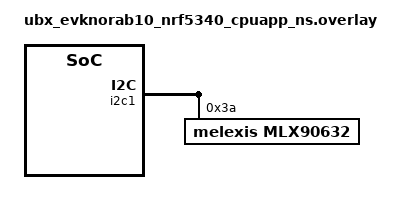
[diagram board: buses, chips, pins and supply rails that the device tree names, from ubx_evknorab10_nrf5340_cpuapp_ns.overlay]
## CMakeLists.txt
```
# SPDX-License-Identifier: Apache-2.0

cmake_minimum_required(VERSION 3.20.0)
find_package(Zephyr REQUIRED HINTS $ENV{ZEPHYR_BASE})
project(NORAB106_MLX90632)

zephyr_include_directories(inc)        #Add this line
zephyr_include_directories(inc/melexis)        #Add this line

target_sources(app PRIVATE src/main.c)
target_sources(app PRIVATE src/peripheral/gpio_hal.c)  #Add this line
target_sources(app PRIVATE src/peripheral/i2c_comm.c)  #Add this line
target_sources(app PRIVATE src/peripheral/peripheral.c)  #Add this line
target_sources(app PRIVATE src/melexis/mlx90632.c)  #Add this line
target_sources(app PRIVATE src/melexis/mlx90632_hal.c)  #Add this line
```

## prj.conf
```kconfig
CONFIG_GPIO=y
CONFIG_UART_NRFX=y
CONFIG_NEWLIB_LIBC=y
CONFIG_DEBUG_OPTIMIZATIONS=y
CONFIG_I2C=y
CONFIG_PRINTK=y
CONFIG_NEWLIB_LIBC=y
CONFIG_NEWLIB_LIBC_FLOAT_PRINTF=y
```

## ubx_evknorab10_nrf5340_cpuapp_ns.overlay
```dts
/******************************************************************************
 * Copyright (c) 2025 Marconatale Parise.
 *
 * Licensed under the Apache License, Version 2.0 (the "License");
 * You may not use this file except in compliance with the License.
 * You may obtain a copy of the License at
 *
 *     http://www.apache.org/licenses/LICENSE-2.0
 *
 * Unless required by applicable law or agreed to in writing, software
 * distributed under the License is distributed on an "AS IS" BASIS,
 * WITHOUT WARRANTIES OR CONDITIONS OF ANY KIND, either express or implied.
 * See the License for the specific language governing permissions and
 * limitations under the License.
 *
 *****************************************************************************/


&i2c1 {
	compatible = "nordic,nrf-twim";
	status = "okay";

	tempsensor@3A {
		compatible = "melexis,mlx90632";
		label = "MLX90632";
		reg = <0x3a>;
	};
};
```

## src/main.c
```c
/******************************************************************************
 *
 * Copyright (c) 2025 Marconatale Parise. All rights reserved.
 *
 * This file is part of proprietary software. Unauthorized copying, distribution,
 * or modification of this file, via any medium, is strictly prohibited without
 * prior written permission from the copyright holder.
 *
 *****************************************************************************/
/**
 * @file main.c
 * @brief main function to initialize peripherals and handle OB1203 interrupts
 *
 * This file contains the main function that initializes the peripherals and
 * call melexis function for ambient and object temperature reading.
 * 
 * @author Marconatale Parise
 * @date 09 June 2025
 *
 */

#include "peripheral.h"
#include "mlx90632.h"

bool enable_measure = false;

void main(void){

	peripheral_init();
	
	while (1){

		if(is_button1_pressed())enable_measure = true;
		if(is_button2_pressed())enable_measure = false;
		if(enable_measure) mlx90632_read();
		msleep(1000);
	}	

}
```

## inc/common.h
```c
/******************************************************************************
 *
 * Copyright (c) 2025 Marconatale Parise. All rights reserved.
 *
 * This file is part of proprietary software. Unauthorized copying, distribution,
 * or modification of this file, via any medium, is strictly prohibited without
 * prior written permission from the copyright holder.
 *
 *****************************************************************************/
/**
 * @file common.h
 * @brief this file contain common macros and definitions used across the project.
 *
 * 
 * @author Marconatale Parise
 * @date 09 June 2025
 *
 */
#pragma once

#include <stdint.h>
#include <math.h>
#include <stdio.h>

#ifndef __COMMON_H__
#define __COMMON_H__


#define DEBUG 1
#define DEBUG_MLX 0

#if DEBUG
#define LOG(x,...) if(DEBUG){printf("[%u ms] " x "\n", k_uptime_get_32(), ##__VA_ARGS__);}
#define LOG_MLX(x,...) if(DEBUG_MLX){printf("[%u ms] " x "\n", k_uptime_get_32(), ##__VA_ARGS__);}
#endif


#define   ERROR_MLX_READ    BIT(0) //error verified during mlx90632_start_measurement()
#define   ERROR_MLX_WRITE   BIT(1) //error verified during extern int32_t mlx90632_i2c_write(int16_t register_address, uint16_t value)
#define   ERROR_GPIO_INIT   BIT(7) //error verified during const struct device *gpio_init(uint8_t index)

#define   PUSH_BTN(x)        BIT(x)

#endif
```

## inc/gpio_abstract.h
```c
/******************************************************************************
 * Copyright (c) 2025 Marconatale Parise.
 *
 * Licensed under the Apache License, Version 2.0 (the "License");
 * You may not use this file except in compliance with the License.
 * You may obtain a copy of the License at
 *
 *     http://www.apache.org/licenses/LICENSE-2.0
 *
 * Unless required by applicable law or agreed to in writing, software
 * distributed under the License is distributed on an "AS IS" BASIS,
 * WITHOUT WARRANTIES OR CONDITIONS OF ANY KIND, either express or implied.
 * See the License for the specific language governing permissions and
 * limitations under the License.
 *
 *****************************************************************************/
/**
 * @file gpio_abstract.h
 * @brief this file contain a clean interface based on Zephyr GPIO function and create an abstract interface 
 * to manage gpio pins based structure data.
 *
 * The following functions will be implemented:
 * - gpio_enable_interrupt() to enable or disable gpio interrupt for the specific channel
 * - gpio_enable() to enable or disable gpio for the specific channel
 * - get_gpio_pin_interrupt_config() to get the gpio pin interrupt configuration
 * - gpio_init() to initialize the gpio peripheral starting from device tree information
 * - gpio_configure() to configure the gpio pin for a specific channel
 * - reset_gpio_interrupt() to reset the gpio interrupt status for a specific channel
 * - get_gpio_interrupt_status() to get the gpio interrupt status for a specific channel
 * 
 * @author Marconatale Parise
 * @date 09 June 2025
 *
 */

#ifndef __GPIO_ABSTRACT_H__
#define __GPIO_ABSTRACT_H__

#include "common.h"
#include "gpio_dt.h"

#define NUM_GPIO_PERIP 2

#define BTN1_ch        0
#define BTN2_ch        1


typedef struct 
{
  bool active;
  uint32_t port_config;
  bool status;
}Gpio_int_t;

typedef struct
{
    bool active;
    const struct device *dev;
    gpio_pin_t pin;
    gpio_flags_t flags;
    uint32_t direction;
    bool value;
    Gpio_int_t g_int;
    uint8_t error;
    const char *label;

}Gpio_t;

/**
 * @brief Enable or disable gpio interrupt
 *
 * Enable or disable the gpio interrupt for a specific channel.
 *
 * @param gt gpio struct pointer to the gpio array
 * @param channel 8-bit value that indicate channel of gpio struct array
 * @param enable boolean value to enable or disable the interrupt
 *
 * @return void
 */
void gpio_enable_interrupt(Gpio_t* gt, uint8_t channel, bool enable);

/**
 * @brief Enable or disable gpio
 *
 * Enable or disable the gpio for a specific channel.
 *
 * @param gt gpio struct pointer to the gpio array
 * @param channel 8-bit value that indicate channel of gpio struct array
 * @param enable boolean value to enable or disable the gpio
 *
 * @return void
 */
void gpio_enable(Gpio_t* gt, uint8_t channel, bool enable);

/**
 * @brief Get gpio pin interrupt configuration
 *
 * Get the gpio pin interrupt configuration for all active and enabled gpio pins.
 *
 * @param gt gpio struct pointer to the gpio array
 * @param size 8-bit value that indicate number of gpio elements in the array 
 *
 * @return uint32_t bitmask of active and enabled gpio pins
 */
uint32_t get_gpio_pin_interrupt_config(Gpio_t* gt, uint8_t size);

/**
 * @brief Initialize gpio peripheral
 *
 * Initialize the gpio peripheral starting from device tree information.
 *
 * @param gt gpio struct pointer to the gpio array
 * @param channel 8-bit value that indicate channel of gpio struct array
 * @param size 8-bit value that indicate number of gpio elements in the array 
 *
 * @return void
 */
void gpio_init(Gpio_t* gt, uint8_t channel, uint8_t size);

/**
 * @brief Configure gpio pin
 *
 * Configure the gpio pin for a specific channel.
 *
 * @param gt gpio struct pointer to the gpio array
 * @param channel 8-bit value that indicate channel of gpio struct array
 * @param size 8-bit value that indicate number of gpio elements in the array 
 *
 * @return void
 */
void gpio_configure(Gpio_t* gt, uint8_t channel, uint8_t size);

/**
 * @brief Configure gpio pin interrupt
 *
 * Configure the gpio pin interrupt for a specific channel.
 *
 * @param gt gpio struct pointer to the gpio array
 * @param channel 8-bit value that indicate channel of gpio struct array
 * @param size 8-bit value that indicate number of gpio elements in the array 
 *
 * @return void
 */
void gpio_configure_interrupt(Gpio_t* gt, uint8_t channel, uint8_t size);

/**
 * @brief Reset gpio interrupt status
 *
 * Reset the gpio interrupt status for a specific channel.
 *
 * @param gt gpio struct pointer to the gpio array
 * @param channel 8-bit value that indicate channel of gpio struct array
 *
 * @return void
 */
void reset_gpio_interrupt(Gpio_t* gt, uint8_t channel);

/**
 * @brief Get gpio interrupt status
 *
 * Get the gpio interrupt status for a specific channel.
 *
 * @param gt gpio struct pointer to the gpio array
 * @param channel 8-bit value that indicate channel of gpio struct array
 *
 * @return bool true if interrupt is active, false otherwise
 */
bool get_gpio_interrupt_status(Gpio_t* gt, uint8_t channel);

#endif
```

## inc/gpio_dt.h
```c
/******************************************************************************
 * Copyright (c) 2025 Marconatale Parise.
 *
 * Licensed under the Apache License, Version 2.0 (the "License");
 * You may not use this file except in compliance with the License.
 * You may obtain a copy of the License at
 *
 *     http://www.apache.org/licenses/LICENSE-2.0
 *
 * Unless required by applicable law or agreed to in writing, software
 * distributed under the License is distributed on an "AS IS" BASIS,
 * WITHOUT WARRANTIES OR CONDITIONS OF ANY KIND, either express or implied.
 * See the License for the specific language governing permissions and
 * limitations under the License.
 *
 *****************************************************************************/
/**
 * @file gpio_dt.h
 * @brief this file handles the gpio device tree macros and definitions.
 *
 * 
 * @author Marconatale Parise
 * @date 09 June 2025
 *
 */

#ifndef __GPIO_DT_H__
#define __GPIO_DT_H__

#include "common.h"
#include <zephyr/drivers/gpio.h>
#include <zephyr/sys/util.h>
#include <zephyr/sys/printk.h>
#include <zephyr/kernel.h>
#include <zephyr/device.h>


#define BTN1_NODE          DT_ALIAS(sw0)
#define BTN2_NODE          DT_ALIAS(sw1)

// /* The devicetree node identifier for the "button 1" alias. */
#if DT_NODE_HAS_STATUS(BTN1_NODE, okay)
#define PIN_BTN1      DT_GPIO_PIN(BTN1_NODE, gpios)
#define FLAGS_BTN1     DT_GPIO_FLAGS(BTN1_NODE, gpios)
#define LABEL_BTN1     DT_PROP(BTN1_NODE, label)
#else
#error "Unsupported board: button 1 devicetree alias is not defined"
#define DEV_BTN1	    ""
#define PIN_BTN1	0
#define FLAGS_BTN1	0
#define LABEL_BTN1    ""
#endif

// /* The devicetree node identifier for the "button 1" alias. */
#if DT_NODE_HAS_STATUS(BTN2_NODE, okay)
#define PIN_BTN2      DT_GPIO_PIN(BTN2_NODE, gpios)
#define FLAGS_BTN2     DT_GPIO_FLAGS(BTN2_NODE, gpios)
#define LABEL_BTN2     DT_PROP(BTN2_NODE, label)
#else
#error "Unsupported board: button 1 devicetree alias is not defined"
#define DEV_BTN2	    ""
#define PIN_BTN2	0
#define FLAGS_BTN2	0
#define LABEL_BTN2    ""
#endif





#endif
```

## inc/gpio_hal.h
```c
/******************************************************************************
 * Copyright (c) 2025 Marconatale Parise.
 *
 * Licensed under the Apache License, Version 2.0 (the "License");
 * You may not use this file except in compliance with the License.
 * You may obtain a copy of the License at
 *
 *     http://www.apache.org/licenses/LICENSE-2.0
 *
 * Unless required by applicable law or agreed to in writing, software
 * distributed under the License is distributed on an "AS IS" BASIS,
 * WITHOUT WARRANTIES OR CONDITIONS OF ANY KIND, either express or implied.
 * See the License for the specific language governing permissions and
 * limitations under the License.
 *
 *****************************************************************************/
/**
 * @file gpio_hal.h
 * @brief this file contain a clean interface based on Zephyr GPIO and device tree macro function 
 * and create an abstract layer to manage gpio pins based structure data.
 *
 * The following functions will be implemented:
 * - gpio_enable_interrupt() to enable or disable gpio interrupt for the specific channel
 * - gpio_enable() to enable or disable gpio for the specific channel
 * - get_gpio_pin_interrupt_config() to get the gpio pin interrupt configuration
 * - gpio_init() to initialize the gpio peripheral starting from device tree information
 * - gpio_configure() to configure the gpio pin for a specific channel
 * - reset_gpio_interrupt() to reset the gpio interrupt status for a specific channel
 * - get_gpio_interrupt_status() to get the gpio interrupt status for a specific channel
 * 
 * @author Marconatale Parise
 * @date 09 June 2025
 *
 */

#ifndef __GPIO_HAL_H__
#define __GPIO_HAL_H__

#include "common.h"
#include "gpio_dt.h"

#define NUM_GPIO_PERIP 2

#define BTN1_ch        0
#define BTN2_ch        1


typedef struct 
{
  bool active;
  uint32_t port_config;
  bool status;
}Gpio_int_t;

typedef struct
{
    bool active;
    const struct device *dev;
    gpio_pin_t pin;
    gpio_flags_t flags;
    uint32_t direction;
    bool value;
    Gpio_int_t g_int;
    uint8_t error;
    const char *label;

}Gpio_t;

/**
 * @brief Enable or disable gpio interrupt
 *
 * Enable or disable the gpio interrupt for a specific channel.
 *
 * @param gt gpio struct pointer to the gpio array
 * @param channel 8-bit value that indicate channel of gpio struct array
 * @param enable boolean value to enable or disable the interrupt
 *
 * @return void
 */
void gpio_enable_interrupt(Gpio_t* gt, uint8_t channel, bool enable);

/**
 * @brief Enable or disable gpio
 *
 * Enable or disable the gpio for a specific channel.
 *
 * @param gt gpio struct pointer to the gpio array
 * @param channel 8-bit value that indicate channel of gpio struct array
 * @param enable boolean value to enable or disable the gpio
 *
 * @return void
 */
void gpio_enable(Gpio_t* gt, uint8_t channel, bool enable);

/**
 * @brief Get gpio pin interrupt configuration
 *
 * Get the gpio pin interrupt configuration for all active and enabled gpio pins.
 *
 * @param gt gpio struct pointer to the gpio array
 * @param size 8-bit value that indicate number of gpio elements in the array 
 *
 * @return uint32_t bitmask of active and enabled gpio pins
 */
uint32_t get_gpio_pin_interrupt_config(Gpio_t* gt, uint8_t size);

/**
 * @brief Initialize gpio peripheral
 *
 * Initialize the gpio peripheral starting from device tree information.
 *
 * @param gt gpio struct pointer to the gpio array
 * @param channel 8-bit value that indicate channel of gpio struct array
 * @param size 8-bit value that indicate number of gpio elements in the array 
 *
 * @return void
 */
void gpio_init(Gpio_t* gt, uint8_t channel, uint8_t size);

/**
 * @brief Configure gpio pin
 *
 * Configure the gpio pin for a specific channel.
 *
 * @param gt gpio struct pointer to the gpio array
 * @param channel 8-bit value that indicate channel of gpio struct array
 * @param size 8-bit value that indicate number of gpio elements in the array 
 *
 * @return void
 */
void gpio_configure(Gpio_t* gt, uint8_t channel, uint8_t size);

/**
 * @brief Configure gpio pin interrupt
 *
 * Configure the gpio pin interrupt for a specific channel.
 *
 * @param gt gpio struct pointer to the gpio array
 * @param channel 8-bit value that indicate channel of gpio struct array
 * @param size 8-bit value that indicate number of gpio elements in the array 
 *
 * @return void
 */
void gpio_configure_interrupt(Gpio_t* gt, uint8_t channel, uint8_t size);

/**
 * @brief Reset gpio interrupt status
 *
 * Reset the gpio interrupt status for a specific channel.
 *
 * @param gt gpio struct pointer to the gpio array
 * @param channel 8-bit value that indicate channel of gpio struct array
 *
 * @return void
 */
void reset_gpio_interrupt(Gpio_t* gt, uint8_t channel);

/**
 * @brief Get gpio interrupt status
 *
 * Get the gpio interrupt status for a specific channel.
 *
 * @param gt gpio struct pointer to the gpio array
 * @param channel 8-bit value that indicate channel of gpio struct array
 *
 * @return bool true if interrupt is active, false otherwise
 */
bool get_gpio_interrupt_status(Gpio_t* gt, uint8_t channel);

#endif
```

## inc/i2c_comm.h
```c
/******************************************************************************
 * Copyright (c) 2025 Marconatale Parise.
 *
 * Licensed under the Apache License, Version 2.0 (the "License");
 * You may not use this file except in compliance with the License.
 * You may obtain a copy of the License at
 *
 *     http://www.apache.org/licenses/LICENSE-2.0
 *
 * Unless required by applicable law or agreed to in writing, software
 * distributed under the License is distributed on an "AS IS" BASIS,
 * WITHOUT WARRANTIES OR CONDITIONS OF ANY KIND, either express or implied.
 * See the License for the specific language governing permissions and
 * limitations under the License.
 *
 *****************************************************************************/
/**
 * @file i2c_comm.h
 * @brief this file contain functions based Zephyr I2C functions  
 * to initialize and scan i2c protocol.
 *
 * The following functions will be implemented:
 * - i2c_init() to initialize the i2c peripheral
 * - i2c_scan() to scan for i2c devices on the bus
 * 
 * @author Marconatale Parise
 * @date 09 June 2025
 *
 */

#ifndef __I2C_COMM_H__
#define __I2C_COMM_H__



#include "common.h"
#include "i2c_dt.h"



/**
 * @brief initialize the i2c peripheral
 *
 * Initialize the i2c peripheral starting from device tree information.
 * This function configures the i2c device and scans for available addresses.
 *
 * @return bool true if initialization is successful, false otherwise
 */
bool i2c_init();

/**
 * @brief Scan for i2c devices on the bus
 *
 * This function scans the i2c bus for devices and returns the address of the first device found.
 * If no devices are found, it returns 0xFFFF.
 *
 * @return uint16_t Address of the first device found, or 0xFFFF if no devices are found
 */
uint16_t i2c_scan();


#endif
```

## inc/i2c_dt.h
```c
/******************************************************************************
 * Copyright (c) 2025 Marconatale Parise.
 *
 * Licensed under the Apache License, Version 2.0 (the "License");
 * You may not use this file except in compliance with the License.
 * You may obtain a copy of the License at
 *
 *     http://www.apache.org/licenses/LICENSE-2.0
 *
 * Unless required by applicable law or agreed to in writing, software
 * distributed under the License is distributed on an "AS IS" BASIS,
 * WITHOUT WARRANTIES OR CONDITIONS OF ANY KIND, either express or implied.
 * See the License for the specific language governing permissions and
 * limitations under the License.
 *
 *****************************************************************************/
/**
 * @file i2c_dt.h
 * @brief this file handles the i2c device tree macros and definitions.
 *
 * 
 * @author Marconatale Parise
 * @date 09 June 2025
 *
 */

#ifndef __I2C_DT_H__
#define __I2C_DT_H__


#include <zephyr/drivers/i2c.h>
#include <zephyr/kernel.h>
#include <zephyr/device.h>
#include "common.h"

#define I2C_DEV DEVICE_DT_GET(DT_NODELABEL(i2c1))



#endif
```

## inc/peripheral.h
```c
/******************************************************************************
 *
 * Copyright (c) 2025 Marconatale Parise. All rights reserved.
 *
 * This file is part of proprietary software. Unauthorized copying, distribution,
 * or modification of this file, via any medium, is strictly prohibited without
 * prior written permission from the copyright holder.
 *
 *****************************************************************************/
/**
 * @file peripheral.h
 * @brief this file contain the functions prototype to link the peripher to functionalities
 *
 * The following functions will be implemented:
 * - peripheral_init() to initialize the peripherals
 * - reset_interrupt_ob1203() to reset the OB1203 interrupt status
 * - get_status_interrupt_ob1203() to get the OB1203 interrupt status
 * 
 * 
 * @author Marconatale Parise
 * @date 09 June 2025
 *
 */

#ifndef __PERIPHERAL_H__
#define __PERIPHERAL_H__

#include "common.h"
#include "gpio_hal.h"
#include "mlx90632_hal.h"
#include "mlx90632.h"
#include "i2c_comm.h"


/**
 * @brief Initialize peripherals
 *
 * Initialize peripherals to asserve the functionalities of the system. 
 *
 * NO parameters are required for this function.
 *
 * @return void
 */
void peripheral_init();

/**
 * @brief Verify if Button 1 is pressed
 *
 * Check if Button 1 is pressed by reading the GPIO interrupt status.
 * 
 * No parameters are required for this function.
 *
 * @return bool true if Button 1 is pressed, false otherwise
 */
bool is_button1_pressed();

/**
 * @brief Verify if Button 2 is pressed
 *
 * Check if Button 2 is pressed by reading the GPIO interrupt status.
 * 
 * No parameters are required for this function.
 *
 * @return bool true if Button 2 is pressed, false otherwise
 */
bool is_button2_pressed();

#endif /* __PERIPHERAL_H__ */
```
